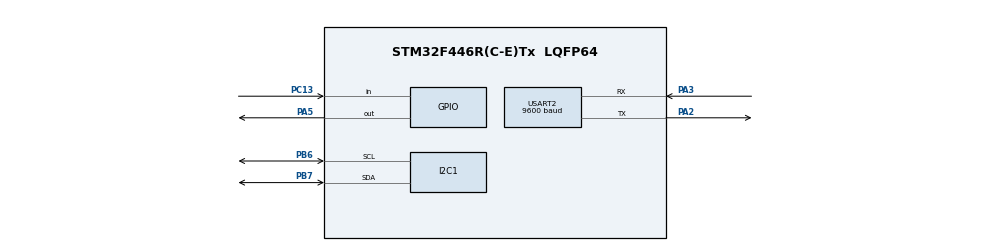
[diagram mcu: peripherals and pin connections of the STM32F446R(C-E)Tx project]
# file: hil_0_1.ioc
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Mcu.Family=STM32F4
Dma.USART2_TX.1.Priority=DMA_PRIORITY_LOW
VP_SYS_VS_tim6.Mode=TIM6
RCC.CortexFreq_Value=16000000
FREERTOS.Tasks01=task01,24,128,StartTask01,Default,NULL,Dynamic,NULL,NULL;task02,16,128,StartTask02,Default,NULL,Dynamic,NULL,NULL
Dma.USART2_TX.1.FIFOMode=DMA_FIFOMODE_DISABLE
NVIC.TIM6_DAC_IRQn=true\:0\:0\:false\:false\:true\:false\:false\:true
Dma.USART2_TX.1.MemInc=DMA_MINC_ENABLE
PC13.Signal=GPIO_Input
Dma.USART2_RX.0.Direction=DMA_PERIPH_TO_MEMORY
Dma.USART2_TX.1.PeriphDataAlignment=DMA_PDATAALIGN_BYTE
USART2.BaudRate=9600
ProjectManager.StackSize=0x400
VP_FREERTOS_VS_CMSIS_V2.Mode=CMSIS_V2
Dma.USART2_RX.0.Mode=DMA_NORMAL
PA3.Mode=Asynchronous
ProjectManager.TargetToolchain=STM32CubeIDE
NVIC.DMA1_Stream5_IRQn=true\:5\:0\:false\:false\:true\:true\:false\:true
Dma.USART2_RX.0.Priority=DMA_PRIORITY_LOW
Dma.USART2_RX.0.PeriphDataAlignment=DMA_PDATAALIGN_BYTE
PB6.Signal=I2C1_SCL
Dma.USART2_TX.1.Mode=DMA_NORMAL
PB6.Mode=I2C
RCC.USBFreq_Value=96000000
PA5.Signal=GPIO_Output
Dma.USART2_TX.1.PeriphInc=DMA_PINC_DISABLE
board=custom
RCC.VCOOutputFreq_Value=192000000
Dma.USART2_TX.1.Direction=DMA_MEMORY_TO_PERIPH
Dma.USART2_RX.0.MemDataAlignment=DMA_MDATAALIGN_BYTE
Dma.USART2_TX.1.Instance=DMA1_Stream6
Dma.USART2_RX.0.Instance=DMA1_Stream5
PC13.GPIO_PuPd=GPIO_NOPULL
PB7.Signal=I2C1_SDA
Dma.USART2_RX.0.MemInc=DMA_MINC_ENABLE
Mcu.Name=STM32F446R(C-E)Tx
PA2.Signal=USART2_TX
Mcu.Package=LQFP64
NVIC.TimeBase=TIM6_DAC_IRQn
Dma.USART2_RX.0.PeriphInc=DMA_PINC_DISABLE
USART2.VirtualMode=VM_ASYNC
Dma.USART2_RX.0.FIFOMode=DMA_FIFOMODE_DISABLE
PB7.Mode=I2C
NVIC.TimeBaseIP=TIM6
ProjectManager.HeapSize=0x200
NVIC.PriorityGroup=NVIC_PRIORITYGROUP_4
Dma.Request1=USART2_TX
PA2.Mode=Asynchronous
Dma.USART2_TX.1.MemDataAlignment=DMA_MDATAALIGN_BYTE
Dma.Request0=USART2_RX
NVIC.DMA1_Stream6_IRQn=true\:5\:0\:false\:false\:true\:true\:false\:true
PA3.Signal=USART2_RX

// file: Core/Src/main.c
/* USER CODE BEGIN Header */
/**
  ******************************************************************************
  * @file           : main.c
  * @brief          : Main program body
  ******************************************************************************
  * @attention
  *
  * <h2><center>&copy; Copyright (c) 2021 STMicroelectronics.
  * All rights reserved.</center></h2>
  *
  * This software component is licensed by ST under Ultimate Liberty license
  * SLA0044, the "License"; You may not use this file except in compliance with
  * the License. You may obtain a copy of the License at:
  *                             www.st.com/SLA0044
  *
  ******************************************************************************
  */
/* USER CODE END Header */
#include "main.h"
#include "cmsis_os.h"

/* USER CODE BEGIN Includes */
#include <stdio.h>
#include <string.h>
/* USER CODE END Includes */

/* USER CODE BEGIN PD */
#define adress_out 0x20
#define adress_in 0x28

/* USER CODE END PD */

I2C_HandleTypeDef hi2c1;

UART_HandleTypeDef huart2;
DMA_HandleTypeDef hdma_usart2_rx;
DMA_HandleTypeDef hdma_usart2_tx;

/* Definitions for task01 */
osThreadId_t task01Handle;
const osThreadAttr_t task01_attributes = {
  .name = "task01",
  .stack_size = 128 * 4,
  .priority = (osPriority_t) osPriorityNormal,
};
/* Definitions for task02 */
osThreadId_t task02Handle;
const osThreadAttr_t task02_attributes = {
  .name = "task02",
  .stack_size = 128 * 4,
  .priority = (osPriority_t) osPriorityBelowNormal,
};
/* USER CODE BEGIN PV */
uint8_t UART_rxBuffer[1];
uint8_t uart_buf[30];
char txBuf[10];
int uart_buf_pos = 0;
uint8_t UART_command[30];

uint8_t input[2] = {};

/* USER CODE END PV */

void SystemClock_Config(void);
static void MX_GPIO_Init(void);
static void MX_DMA_Init(void);
static void MX_USART2_UART_Init(void);
static void MX_I2C1_Init(void);
void StartTask01(void *argument);
void StartTask02(void *argument);

/* USER CODE BEGIN PFP */
void transmit(char[]);
/* USER CODE END PFP */

int main(void)
{

  /* MCU Configuration--------------------------------------------------------*/

  /* Reset of all peripherals, Initializes the Flash interface and the Systick. */
  HAL_Init();

  /* Configure the system clock */
  SystemClock_Config();

  /* Initialize all configured peripherals */
  MX_GPIO_Init();
  MX_DMA_Init();
  MX_USART2_UART_Init();
  MX_I2C1_Init();
  /* USER CODE BEGIN 2 */
  HAL_UART_Receive_DMA(&huart2, UART_rxBuffer, 1);

  //Set up all I2C Devices:
  //Digital Input: Set all to input
  uint8_t i2c_buffer[3] = {0x06,0x00,0x00};
  HAL_I2C_Master_Transmit(&hi2c1, (uint16_t) adress_out, i2c_buffer, 3, 1000);

  /* USER CODE END 2 */

  /* Init scheduler */
  osKernelInitialize();

  /* Create the thread(s) */
  /* creation of task01 */
  task01Handle = osThreadNew(StartTask01, NULL, &task01_attributes);

  /* creation of task02 */
  task02Handle = osThreadNew(StartTask02, NULL, &task02_attributes);

  /* Start scheduler */
  osKernelStart();

  /* We should never get here as control is now taken by the scheduler */
  /* Infinite loop */
  while (1)
  {

  }
}

void SystemClock_Config(void)
{
  RCC_OscInitTypeDef RCC_OscInitStruct = {0};
  RCC_ClkInitTypeDef RCC_ClkInitStruct = {0};

  /** Configure the main internal regulator output voltage
  */
  __HAL_RCC_PWR_CLK_ENABLE();
  __HAL_PWR_VOLTAGESCALING_CONFIG(PWR_REGULATOR_VOLTAGE_SCALE3);
  /** Initializes the RCC Oscillators according to the specified parameters
  * in the RCC_OscInitTypeDef structure.
  */
  RCC_OscInitStruct.OscillatorType = RCC_OSCILLATORTYPE_HSI;
  RCC_OscInitStruct.HSIState = RCC_HSI_ON;
  RCC_OscInitStruct.HSICalibrationValue = RCC_HSICALIBRATION_DEFAULT;
  RCC_OscInitStruct.PLL.PLLState = RCC_PLL_NONE;
  if (HAL_RCC_OscConfig(&RCC_OscInitStruct) != HAL_OK)
  {
    Error_Handler();
  }
  /** Initializes the CPU, AHB and APB buses clocks
  */
  RCC_ClkInitStruct.ClockType = RCC_CLOCKTYPE_HCLK|RCC_CLOCKTYPE_SYSCLK
                              |RCC_CLOCKTYPE_PCLK1|RCC_CLOCKTYPE_PCLK2;
  RCC_ClkInitStruct.SYSCLKSource = RCC_SYSCLKSOURCE_HSI;
  RCC_ClkInitStruct.AHBCLKDivider = RCC_SYSCLK_DIV1;
  RCC_ClkInitStruct.APB1CLKDivider = RCC_HCLK_DIV1;
  RCC_ClkInitStruct.APB2CLKDivider = RCC_HCLK_DIV1;

  if (HAL_RCC_ClockConfig(&RCC_ClkInitStruct, FLASH_LATENCY_0) != HAL_OK)
  {
    Error_Handler();
  }
}

static void MX_I2C1_Init(void)
{

  hi2c1.Instance = I2C1;
  hi2c1.Init.ClockSpeed = 100000;
  hi2c1.Init.DutyCycle = I2C_DUTYCYCLE_2;
  hi2c1.Init.OwnAddress1 = 0;
  hi2c1.Init.AddressingMode = I2C_ADDRESSINGMODE_7BIT;
  hi2c1.Init.DualAddressMode = I2C_DUALADDRESS_DISABLE;
  hi2c1.Init.OwnAddress2 = 0;
  hi2c1.Init.GeneralCallMode = I2C_GENERALCALL_DISABLE;
  hi2c1.Init.NoStretchMode = I2C_NOSTRETCH_DISABLE;
  if (HAL_I2C_Init(&hi2c1) != HAL_OK)
  {
    Error_Handler();
  }

}

static void MX_USART2_UART_Init(void)
{

  huart2.Instance = USART2;
  huart2.Init.BaudRate = 9600;
  huart2.Init.WordLength = UART_WORDLENGTH_8B;
  huart2.Init.StopBits = UART_STOPBITS_1;
  huart2.Init.Parity = UART_PARITY_NONE;
  huart2.Init.Mode = UART_MODE_TX_RX;
  huart2.Init.HwFlowCtl = UART_HWCONTROL_NONE;
  huart2.Init.OverSampling = UART_OVERSAMPLING_16;
  if (HAL_UART_Init(&huart2) != HAL_OK)
  {
    Error_Handler();
  }

}

static void MX_DMA_Init(void)
{

  /* DMA controller clock enable */
  __HAL_RCC_DMA1_CLK_ENABLE();

  /* DMA interrupt init */
  /* DMA1_Stream5_IRQn interrupt configuration */
  HAL_NVIC_SetPriority(DMA1_Stream5_IRQn, 5, 0);
  HAL_NVIC_EnableIRQ(DMA1_Stream5_IRQn);
  /* DMA1_Stream6_IRQn interrupt configuration */
  HAL_NVIC_SetPriority(DMA1_Stream6_IRQn, 5, 0);
  HAL_NVIC_EnableIRQ(DMA1_Stream6_IRQn);

}

static void MX_GPIO_Init(void)
{
  GPIO_InitTypeDef GPIO_InitStruct = {0};

  /* GPIO Ports Clock Enable */
  __HAL_RCC_GPIOC_CLK_ENABLE();
  __HAL_RCC_GPIOA_CLK_ENABLE();
  __HAL_RCC_GPIOB_CLK_ENABLE();

  /*Configure GPIO pin Output Level */
  HAL_GPIO_WritePin(GPIOA, GPIO_PIN_5, GPIO_PIN_RESET);

  /*Configure GPIO pin : PC13 */
  GPIO_InitStruct.Pin = GPIO_PIN_13;
  GPIO_InitStruct.Mode = GPIO_MODE_INPUT;
  GPIO_InitStruct.Pull = GPIO_NOPULL;
  HAL_GPIO_Init(GPIOC, &GPIO_InitStruct);

  /*Configure GPIO pin : PA5 */
  GPIO_InitStruct.Pin = GPIO_PIN_5;
  GPIO_InitStruct.Mode = GPIO_MODE_OUTPUT_PP;
  GPIO_InitStruct.Pull = GPIO_NOPULL;
  GPIO_InitStruct.Speed = GPIO_SPEED_FREQ_LOW;
  HAL_GPIO_Init(GPIOA, &GPIO_InitStruct);

}

/* USER CODE BEGIN 4 */

// DMA-Interrupt nach empfangenem ASCII-Zeichen (muss noch gekürzt werden)
void HAL_UART_RxCpltCallback(UART_HandleTypeDef *huart) {
	if (UART_rxBuffer[0] == '*') {
		uart_buf_pos = 0;
		for (int i = 0; i < 30; i++) {
			uart_buf[i] = 0;
		}
	}

	if (UART_rxBuffer[0] == '*' || uart_buf[0] == '*') {
		uart_buf[uart_buf_pos] = UART_rxBuffer[0];
		if (UART_rxBuffer[0] == '#') {
			uart_buf_pos = 0;
			for (int i = 0; i < 30; i++) {
				UART_command[i] = uart_buf[i];
				uart_buf[i] = 0;
			}
		}
		else {
			uart_buf_pos++;
		}
	}
	HAL_UART_Receive_DMA(&huart2, UART_rxBuffer, 1);
}

void transmit(char msg[30]) {
	char commMsg[32] = "*";
	strncat(commMsg, msg, 30);
	char tmp[1] = "#";
	strncat(commMsg, tmp, 1);
	char msgTarget[32];
	int len = sprintf(msgTarget, commMsg);
	HAL_UART_Transmit(&huart2, (uint8_t *)msgTarget, len, 500);
}

/* USER CODE END 4 */

//Analysiert den UART Befehl, sobald dieser vorliegt
void StartTask01(void *argument)
{
  /* USER CODE BEGIN 5 */
  /* Infinite loop */
  for(;;)
  {
	  int delay = 1;
	  if (UART_command[0] == '*') {

		  if (UART_command[1] == 'a') {				//Analog IOs
			  transmit("pDo something with the Analog IOs");
		  }

		  else if (UART_command[1] == 'd') {		//Digital IOs
			  if (UART_command[2] == 'w') {				//Digital Out
				  uint8_t data[3] = {0x02, UART_command[3], UART_command[4]};
				  HAL_I2C_Master_Transmit(&hi2c1, (uint16_t) adress_in, data, 3, 100);
				  transmit("pWrite to a Digital Pin");
			  }
			  /*
			  else if (UART_command[2] == 'r') {		//Digital In
				  transmit("pRead from a Digital Pin");
			  }
			  */
			  else {
				  transmit("pInvalid Command");
			  }
		  }

		  else if (UART_command[1] == 't') {		//Timer Signal
			  transmit("pDo something with the Timer");
		  }

		  else if (UART_command[1] == 'c') {		//CAN Bus
			  transmit("pDo something with the CAN Bus");
		  }

		  else if (UART_command[1] == 'p') {		//Echo zurück an Qt
			  transmit(UART_command);
		  }

		  else if (UART_command[1] == 'w') {		//Warte für übermittelte Zeit
			  char hexArray[2] = {UART_command[2], UART_command[3]};
			  delay = strtol(hexArray, NULL, 16) * 100;
			  char msg[30];
			  sprintf(msg, "pDelay by %i ms", delay);
			  transmit(msg);
			  break;
		  }

		  else {
			  transmit("pInvalid Command Identifier");
		  }

		  //Lösche Befehl nach Ausführung
		  for (int i = 0; i < 30; i++) {
			  UART_command[i] = 0;
		  }
		  osDelay(delay);
		  transmit("a"); //Acknowledge, lets the qt script continue
	  }
	  else {
		  osDelay(1);
	  }

  }
  /* USER CODE END 5 */
}

void StartTask02(void *argument)
{
  /* USER CODE BEGIN StartTask02 */
  /* Infinite loop */
  for(;;)
  {
	  //uint8_t digi[2] = {};
	  //digitalRead(digi, 2);
	  //char msg[3] = {'d',2,127};
	  //msg[1] = digi[0];
	  //msg[2] = digi[1];
	  //transmit(msg);

	  //Read from digital In
	  uint8_t input[2] = {};
	  HAL_I2C_Master_Transmit(&hi2c1, (uint16_t) adress_in, 0x00, 1, 100);
	  HAL_I2C_Master_Receive(&hi2c1, (uint16_t) adress_in, input, 2, 100);
	  char msg[3] = {'d',input[0], input[1]};
	  transmit(msg);

	  osDelay(100);
  }
  /* USER CODE END StartTask02 */
}

 /**
  * @brief  Period elapsed callback in non blocking mode
  * @note   This function is called  when TIM6 interrupt took place, inside
  * HAL_TIM_IRQHandler(). It makes a direct call to HAL_IncTick() to increment
  * a global variable "uwTick" used as application time base.
  * @param  htim : TIM handle
  * @retval None
  */
void HAL_TIM_PeriodElapsedCallback(TIM_HandleTypeDef *htim)
{
  if (htim->Instance == TIM6) {
    HAL_IncTick();
  }
}

void Error_Handler(void)
{
  __disable_irq();
  while (1)
  {
  }
}

/************************ (C) COPYRIGHT STMicroelectronics *****END OF FILE****/
